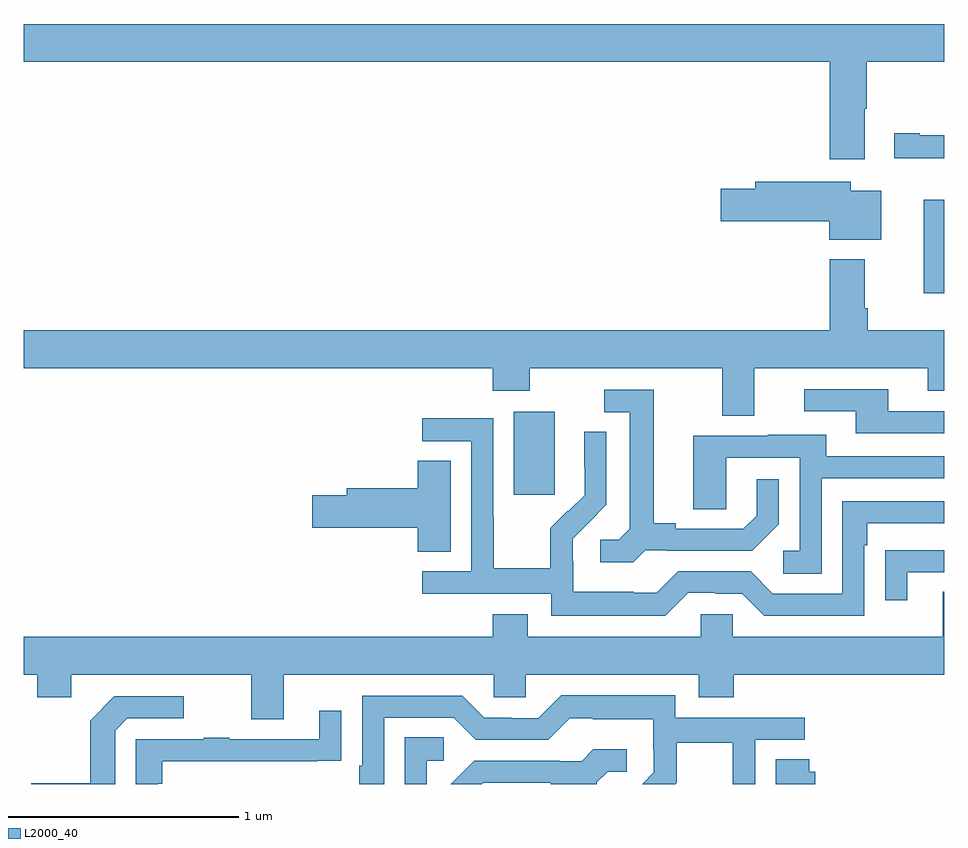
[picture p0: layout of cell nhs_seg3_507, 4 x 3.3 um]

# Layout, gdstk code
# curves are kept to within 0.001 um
import gdstk
lib = gdstk.Library(unit=1e-6, precision=1e-09)
def R(c, l, rs):  # rectangles x0, y0, x1, y1
    for r in rs: c.add(gdstk.rectangle(r[:2], r[2:], *l))
def P(c, l, *ps):  # polygons
    for p in ps: c.add(gdstk.Polygon(p, *l))
L2000_40 = (2000, 40)

nhs_seg3_507 = lib.new_cell('nhs_seg3_507')
R(nhs_seg3_507, L2000_40, [(137.129,741.657,137.308,742.018), (138.911,742.533,139,742.939)])
P(nhs_seg3_507, L2000_40, [(138.655,743.336),(138.663,743.336),(138.663,743.54),(139,743.54),(139,743.704),(135,743.704),(135,743.54),(138.503,743.54),(138.503,743.115),(138.655,743.115)],
  [(139,743.22),(138.895,743.22),(138.895,743.23),(138.783,743.23),(138.783,743.12),(139,743.12)],
  [(138.727,742.978),(138.594,742.978),(138.594,743.018),(138.179,743.018),(138.179,742.988),(138.03,742.988),(138.03,742.846),(138.5,742.846),(138.5,742.766),(138.727,742.766)],
  [(138.175,742.208),(138.929,742.208),(138.929,742.109),(139,742.109),(139,742.372),(138.668,742.372),(138.668,742.468),(138.655,742.468),(138.655,742.681),(138.503,742.681),(138.503,742.372),(135,742.372),(135,742.208),(137.039,742.208),(137.039,742.109),(137.199,742.109),(137.199,742.208),(138.035,742.208),(138.035,742),(138.175,742)],
  [(139,742.02),(138.757,742.02),(138.757,742.116),(138.393,742.116),(138.393,742.02),(138.617,742.02),(138.617,741.924),(139,741.924)],
  [(137.7,741.417),(137.794,741.417),(137.794,741.414),(138.166,741.414),(138.282,741.53),(138.282,741.724),(138.185,741.724),(138.185,741.567),(138.128,741.51),(137.833,741.51),(137.833,741.533),(137.737,741.533),(137.737,742.113),(137.523,742.113),(137.523,742.017),(137.633,742.017),(137.633,741.509),(137.586,741.462),(137.505,741.462),(137.505,741.365),(137.648,741.365)],
  [(137.889,741.231),(138.005,741.231),(138.005,741.228),(138.123,741.228),(138.219,741.132),(138.654,741.132),(138.654,741.437),(138.667,741.437),(138.667,741.534),(139,741.534),(139,741.63),(138.558,741.63),(138.558,741.228),(138.255,741.228),(138.159,741.324),(137.844,741.324),(137.751,741.231),(137.651,741.231),(137.651,741.235),(137.388,741.235),(137.388,741.369),(137.386,741.369),(137.386,741.466),(137.532,741.614),(137.532,741.932),(137.436,741.932),(137.436,741.778),(137.438,741.778),(137.438,741.656),(137.367,741.585),(137.364,741.588),(137.287,741.511),(137.287,741.337),(137.043,741.337),(137.043,741.56),(137.04,741.56),(137.04,741.99),(136.731,741.99),(136.731,741.891),(136.944,741.891),(136.944,741.324),(136.731,741.324),(136.731,741.228),(137.292,741.228),(137.292,741.131),(137.789,741.131)],
  [(138.468,741.729),(139,741.729),(139,741.825),(138.487,741.825),(138.487,741.919),(138.233,741.919),(138.233,741.915),(137.909,741.915),(137.909,741.595),(138.054,741.595),(138.054,741.819),(138.372,741.819),(138.372,741.414),(138.3,741.414),(138.3,741.313),(138.468,741.313)],
  [(136.855,741.806),(136.712,741.806),(136.712,741.686),(136.403,741.686),(136.403,741.656),(136.254,741.656),(136.254,741.514),(136.712,741.514),(136.712,741.409),(136.855,741.409)],
  [(138.841,741.321),(139,741.321),(139,741.417),(138.847,741.417),(138.847,741.416),(138.745,741.416),(138.745,741.198),(138.841,741.198)],
  [(136.129,740.876),(137.043,740.876),(137.043,740.778),(137.181,740.778),(137.181,740.876),(137.933,740.876),(137.933,740.777),(138.086,740.777),(138.086,740.876),(139,740.876),(139,741.235),(138.995,741.235),(138.995,741.04),(138.081,741.04),(138.081,741.138),(137.943,741.138),(137.943,741.04),(137.191,741.04),(137.191,741.139),(137.039,741.139),(137.039,741.04),(135,741.04),(135,740.876),(135.058,740.876),(135.058,740.777),(135.205,740.777),(135.205,740.876),(135.989,740.876),(135.989,740.682),(136.129,740.682)],
  [(136.566,740.688),(136.869,740.688),(136.965,740.592),(137.28,740.592),(137.373,740.685),(137.473,740.685),(137.473,740.681),(137.736,740.681),(137.736,740.547),(137.738,740.547),(137.738,740.45),(137.688,740.4),(137.832,740.4),(137.837,740.405),(137.837,740.58),(138.082,740.58),(138.082,740.4),(138.18,740.4),(138.18,740.592),(138.394,740.592),(138.394,740.688),(137.832,740.688),(137.832,740.785),(137.335,740.785),(137.235,740.685),(137.12,740.685),(137.12,740.688),(137.001,740.688),(136.905,740.784),(136.47,740.784),(136.47,740.479),(136.457,740.479),(136.457,740.4),(136.566,740.4)],
  [(135.396,740.631),(135.45,740.685),(135.694,740.685),(135.694,740.781),(135.393,740.781),(135.288,740.675),(135.288,740.403),(135.031,740.403),(135.031,740.4),(135.396,740.4)],
  [(135.582,740.402),(135.602,740.402),(135.602,740.499),(136.277,740.499),(136.277,740.5),(136.379,740.5),(136.379,740.719),(136.283,740.719),(136.283,740.595),(135.893,740.595),(135.893,740.6),(135.781,740.6),(135.781,740.595),(135.486,740.595),(135.486,740.4),(135.582,740.4)],
  [(136.752,740.502),(136.825,740.502),(136.825,740.603),(136.656,740.603),(136.656,740.4),(136.752,740.4)],
  [(136.996,740.406),(137.291,740.406),(137.291,740.4),(137.491,740.4),(137.491,740.407),(137.538,740.454),(137.62,740.454),(137.62,740.551),(137.476,740.551),(137.424,740.499),(137.33,740.499),(137.33,740.502),(136.958,740.502),(136.856,740.4),(136.99,740.4)],
  [(138.44,740.454),(138.413,740.454),(138.413,740.507),(138.269,740.507),(138.269,740.4),(138.44,740.4)])

lib.write_gds('nhs_seg3_507.gds')
